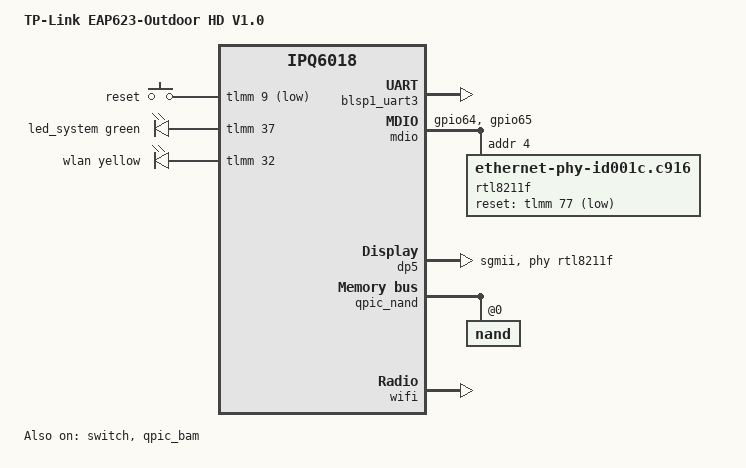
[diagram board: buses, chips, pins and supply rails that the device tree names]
// SPDX-License-Identifier: MIT, GPL-2.0 or later
/* Copyright (c) 2025, Yang Xiwen <forbidden405@outlook.com> */

/dts-v1/;

#include "ipq6018.dtsi"
#include "ipq6018-cp-cpu.dtsi"
#include "ipq6018-ess.dtsi"
#include <dt-bindings/gpio/gpio.h>
#include <dt-bindings/input/input.h>
#include <dt-bindings/leds/common.h>

/ {
	model = "TP-Link EAP623-Outdoor HD V1.0";
	compatible = "tplink,eap623od-hd-v1", "qcom,ipq6018";

	aliases {
		serial0 = &blsp1_uart3;
		led-boot = &led_system;
		led-failsafe = &led_system;
		led-running = &led_system;
		led-upgrade = &led_system;
	};

	chosen {
		stdout-path = "serial0:115200n8";
		bootargs-append = " root=/dev/ubiblock0_1";
	};

	keys {
		compatible = "gpio-keys";

		reset {
			label = "reset";
			gpios = <&tlmm 9 GPIO_ACTIVE_LOW>;
			linux,code = <KEY_RESTART>;
		};
	};

	leds {
		compatible = "gpio-leds";

		led_system: system {
			color = <LED_COLOR_ID_GREEN>;
			function = LED_FUNCTION_STATUS;
			gpios = <&tlmm 37 GPIO_ACTIVE_HIGH>;
		};

		wlan {
			color = <LED_COLOR_ID_YELLOW>;
			function = LED_FUNCTION_WLAN;
			gpios = <&tlmm 32 GPIO_ACTIVE_HIGH>;
		};
	};
};

&blsp1_uart3 {
	pinctrl-0 = <&serial_3_pins>;
	pinctrl-names = "default";
	status = "okay";
};

&tlmm {
	mdio_pins: mdio-pins {
		mdc {
			pins = "gpio64";
			function = "mdc";
			drive-strength = <8>;
			bias-pull-up;
		};

		mdio {
			pins = "gpio65";
			function = "mdio";
			drive-strength = <8>;
			bias-pull-up;
		};
	};

	phy_pins: phy-reset-pin {
		pins = "gpio77";
		function = "gpio";
		bias-pull-up;
	};
};

&mdio {
	status = "okay";
	pinctrl-0 = <&mdio_pins>;
	pinctrl-names = "default";

	rtl8211f: ethernet-phy@4 {
		compatible = "ethernet-phy-id001c.c916";
		reg = <4>;
		reset-gpios = <&tlmm 77 GPIO_ACTIVE_LOW>;
		pinctrl-0 = <&phy_pins>;
		pinctrl-names = "default";

		realtek,clkout-disable;
		realtek,aldps-enable;
	};
};

&switch {
	status = "okay";
	switch_lan_bmp = <ESS_PORT5>; /* lan port bitmap */
	switch_mac_mode1 = <MAC_MODE_SGMII_PLUS>; /* mac mode for uniphy instance0*/

	qcom,port_phyinfo {
		port@5 {
			port_id = <5>;
			phy_address = <4>;
			port_mac_sel = "QGMAC_PORT";
		};
	};
};

&edma {
	status = "okay";
};

&dp5 {
	status = "okay";
	phy-handle = <&rtl8211f>;
	phy-mode = "sgmii";
	label = "lan";
};

&qpic_bam {
	status = "okay";
};

&qpic_nand {
	status = "okay";

	nand@0 {
		reg = <0>;
		nand-ecc-strength = <4>;
		nand-ecc-step-size = <512>;
		nand-bus-width = <8>;

		partitions {
			compatible = "qcom,smem-part";
		};
	};
};

&wifi {
	qcom,ath11k-calibration-variant = "TPLink-EAP623-Outdoor-HD-v1";
	status = "okay";
};
